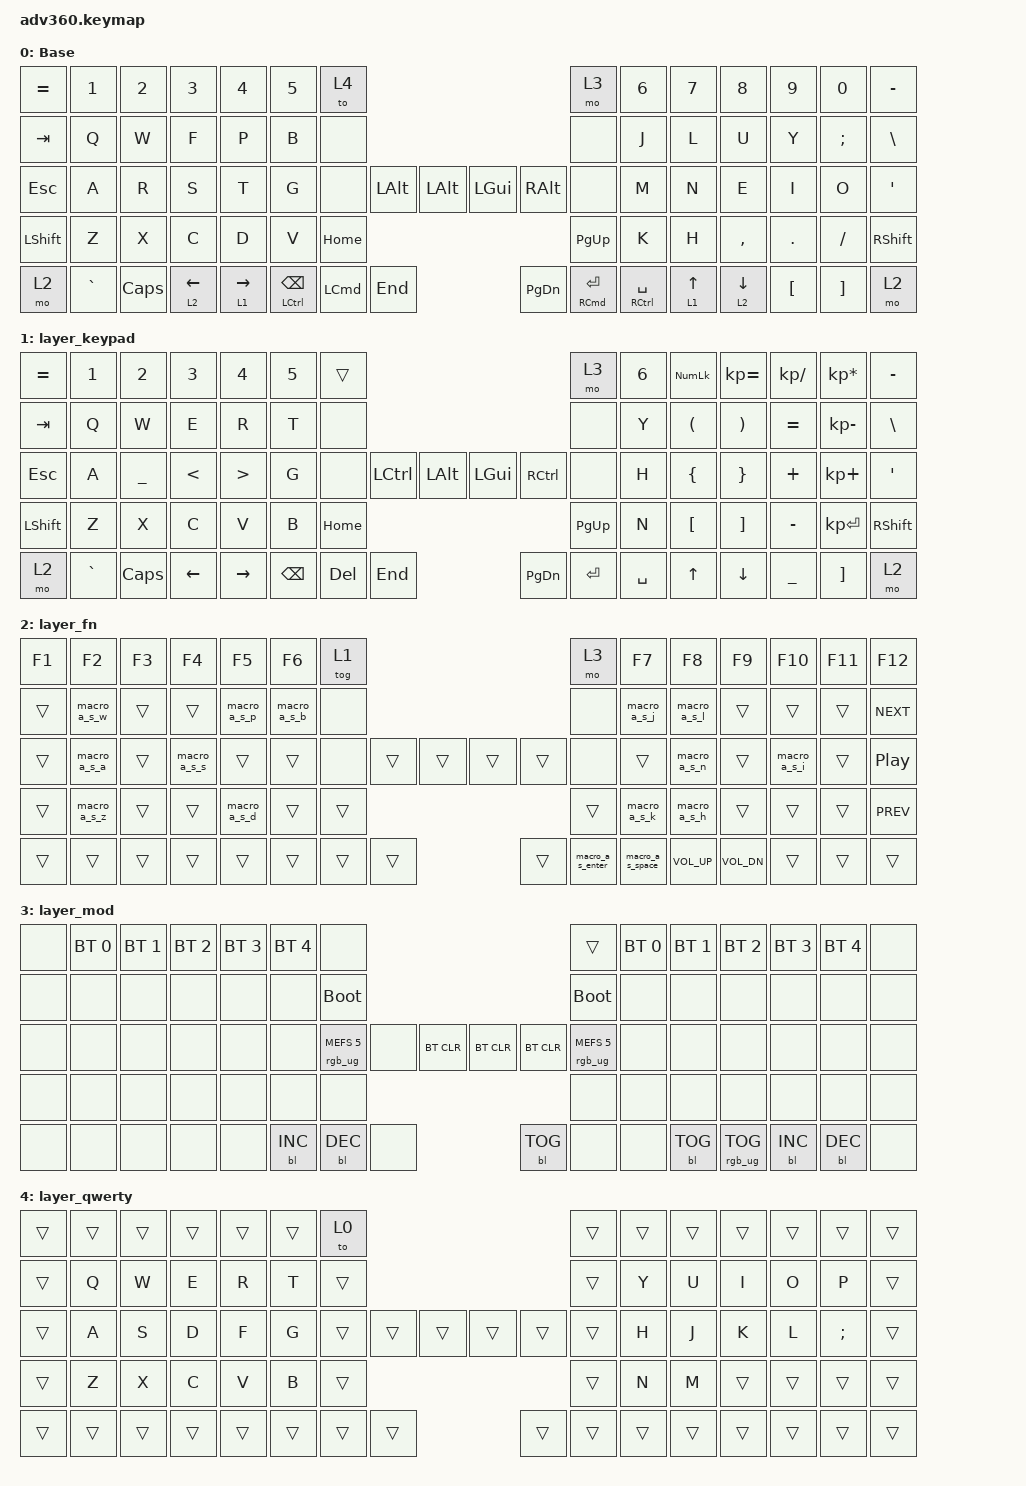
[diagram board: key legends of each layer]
#include <behaviors.dtsi>
#include <dt-bindings/zmk/keys.h>
#include <dt-bindings/zmk/bt.h>
#include <dt-bindings/zmk/rgb.h>
#include <dt-bindings/zmk/stp.h>
#include <dt-bindings/zmk/backlight.h>
#include <dt-bindings/zmk/pointing.h>

/ {
    behaviors {
      #include "macros.dtsi"
      #include "version.dtsi"

      hm: homerow_mods {
          compatible = "zmk,behavior-hold-tap";
          label = "HOMEROW_MODS";
          #binding-cells = <2>;
          tapping-term-ms = <200>;
          quick_tap_ms = <175>;
          flavor = "tap-preferred";
          bindings = <&kp>, <&kp>;
      };
    };

    keymap {
        compatible = "zmk,keymap";

        default_layer {
            display-name = "Base";
            bindings = <
                  &kp EQUAL     &kp N1    &kp N2      &kp N3       &kp N4  &kp N5  &to 4                                                                                      &mo 3  &kp N6  &kp N7    &kp N8      &kp N9    &kp N0    &kp MINUS
                    &kp TAB      &kp Q     &kp W       &kp F        &kp P   &kp B  &none                                                                                      &none  &kp J   &kp L     &kp U       &kp Y     &kp SEMI  &kp BSLH
                    &kp ESC      &kp A     &kp R       &kp S        &kp T   &kp G  &none                  &kp LALT  &kp LALT      &kp LGUI   &kp RALT                         &none  &kp M   &kp N     &kp E       &kp I     &kp O     &kp SQT
                  &kp LSHFT      &kp Z     &kp X       &kp C        &kp D   &kp V                                   &kp HOME      &kp PG_UP                                          &kp K   &kp H     &kp COMMA   &kp DOT   &kp FSLH  &kp RSHFT
                      &mo 2  &kp GRAVE  &kp CAPS  &lt 2 LEFT  &lt 1 RIGHT                 &mt LCTRL BSPC  &kp LCMD   &kp END      &kp PG_DN  &mt RCMD ENTER  &mt RCTRL SPACE                 &lt 1 UP  &lt 2 DOWN  &kp LBKT  &kp RBKT  &mo 2
            >;
        };

        layer_keypad {
            bindings = <
                      &kp EQUAL     &kp N1     &kp N2    &kp N3     &kp N4    &kp N5  &trans                                                                       &mo 3  &kp N6 &kp KP_NUM  &kp KP_EQUAL  &kp KP_DIVIDE  &kp KP_MULTIPLY  &kp MINUS
                        &kp TAB      &kp Q      &kp W     &kp E      &kp R     &kp T   &none                                                                       &none  &kp Y  &kp LPAR    &kp RPAR      &kp EQUAL      &kp KP_MINUS     &kp BSLH
                        &kp ESC      &kp A  &kp UNDER    &kp LT     &kp GT     &kp G   &none            &kp LCTRL   &kp LALT      &kp LGUI   &kp RCTRL             &none  &kp H  &kp LBRC    &kp RBRC      &kp PLUS       &kp KP_PLUS      &kp SQT
                      &kp LSHFT      &kp Z      &kp X     &kp C      &kp V     &kp B                                &kp HOME      &kp PG_UP                               &kp N  &kp LBKT    &kp RBKT      &kp MINUS      &kp KP_ENTER     &kp RSHFT
                          &mo 2  &kp GRAVE   &kp CAPS  &kp LEFT  &kp RIGHT                    &kp BSPC    &kp DEL    &kp END      &kp PG_DN  &kp ENTER  &kp SPACE                &kp UP      &kp DOWN      &kp UNDER      &kp RBKT         &mo 2
            >;
        };

        layer_fn {
            bindings = <
                              &kp F1        &kp F2  &kp F3        &kp F4        &kp F5        &kp F6  &tog 1                                                &mo 3             &kp F7        &kp F8        &kp F9        &kp F10       &kp F11  &kp F12
                              &trans  &macro_a_s_w  &trans        &trans  &macro_a_s_p  &macro_a_s_b   &none                                                &none             &macro_a_s_j  &macro_a_s_l  &trans        &trans        &trans   &kp C_NEXT
                              &trans  &macro_a_s_a  &trans  &macro_a_s_s        &trans        &trans   &none  &trans  &trans      &trans  &trans            &none             &trans        &macro_a_s_n  &trans        &macro_a_s_i  &trans   &kp C_PP
                              &trans  &macro_a_s_z  &trans        &trans  &macro_a_s_d        &trans                  &trans      &trans                                      &macro_a_s_k  &macro_a_s_h  &trans        &trans        &trans   &kp C_PREV
                              &trans        &trans  &trans        &trans        &trans                &trans  &trans  &trans      &trans  &macro_a_s_enter  &macro_a_s_space                &kp C_VOL_UP  &kp C_VOL_DN  &trans        &trans   &trans
            >;
        };

        layer_mod {
            bindings = <
 &none  &bt BT_SEL 0  &bt BT_SEL 1  &bt BT_SEL 2  &bt BT_SEL 3  &bt BT_SEL 4                   &none                                                      &trans                  &bt BT_SEL 0  &bt BT_SEL 1  &bt BT_SEL 2     &bt BT_SEL 3  &bt BT_SEL 4  &none
 &none         &none         &none         &none         &none         &none             &bootloader                                                      &bootloader             &none         &none         &none            &none         &none         &none
 &none         &none         &none         &none         &none         &none  &rgb_ug RGB_MEFS_CMD 5       &none  &bt BT_CLR      &bt BT_CLR  &bt BT_CLR  &rgb_ug RGB_MEFS_CMD 5  &none         &none         &none            &none         &none         &none
 &none         &none         &none         &none         &none         &none                                           &none      &none                                           &none         &none         &none            &none         &none         &none
 &none         &none         &none         &none         &none                            &bl BL_INC  &bl BL_DEC       &none      &bl BL_TOG  &none       &none                                 &bl BL_TOG    &rgb_ug RGB_TOG  &bl BL_INC    &bl BL_DEC    &none
            >;
        };

        layer_qwerty {
                bindings = <
                                                          &trans  &trans  &trans  &trans  &trans  &trans   &to 0                                                      &trans  &trans  &trans  &trans    &trans  &trans    &trans
                                                          &trans   &kp Q   &kp W   &kp E   &kp R   &kp T  &trans                                                      &trans  &kp Y   &kp U   &kp I     &kp O   &kp P     &trans
                                                          &trans   &kp A   &kp S   &kp D   &kp F   &kp G  &trans  &trans  &trans      &trans  &trans  &trans   &kp H  &kp J   &kp K   &kp L   &kp SEMI  &trans
                                                          &trans   &kp Z   &kp X   &kp C   &kp V   &kp B                  &trans      &trans                   &kp N  &kp M   &trans  &trans  &trans    &trans
                                                          &trans  &trans  &trans  &trans  &trans          &trans  &trans  &trans      &trans  &trans  &trans          &trans  &trans  &trans  &trans    &trans
                >;
        };
        extra1 { 
          display-name = "Red";    
          status = "reserved";
        };

        extra2 { 
          display-name = "Purple";    
          status = "reserved";
        };

        extra3 { 
          display-name = "Cyan";    
          status = "reserved";
        };

        extra4 { 
          display-name = "Yellow";    
          status = "reserved";
        };
    };
};
